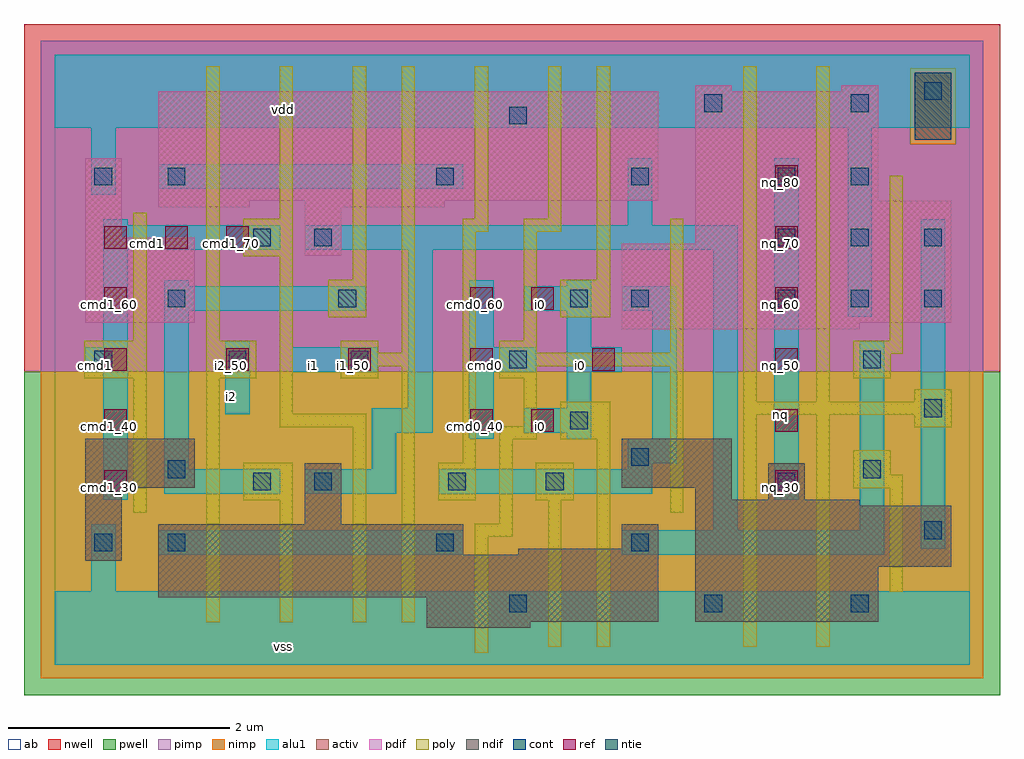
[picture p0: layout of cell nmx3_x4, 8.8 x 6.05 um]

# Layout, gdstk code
import gdstk
lib = gdstk.Library(unit=1e-6, precision=2.5e-09)
def R(c, l, rs):  # rectangles x0, y0, x1, y1
    for r in rs: c.add(gdstk.rectangle(r[:2], r[2:], *l))
def A(c, l, x, y, w, h, nx, ny, dx, dy):  # array of equal rectangles
    R(c, l, [(x+i*dx, y+j*dy, x+i*dx+w, y+j*dy+h) for i in range(nx) for j in range(ny)])
ndif = (3, 0)
pdif = (4, 0)
ntie = (5, 0)
ref = (24, 0)
cont = (25, 0)
pwell = (41, 0)
nwell = (42, 0)
activ = (43, 0)
pimp = (44, 0)
nimp = (45, 0)
poly = (46, 0)
alu1 = (49, 0)
ab = (63, 0)

nmx3_x4 = lib.new_cell('nmx3_x4')
R(nmx3_x4, ndif, [(3.355,0.33,4.29,0.385), (3.355,0.385,5.445,0.605), (5.775,0.385,7.425,0.88), (0.935,0.605,5.445,0.99), (5.775,0.88,8.085,1.43), (0.275,0.935,0.605,1.595), (0.935,0.99,3.685,1.265), (4.18,0.99,5.445,1.045), (5.115,1.045,5.445,1.265), (2.255,1.265,2.585,1.815), (5.775,1.43,7.26,1.485), (5.775,1.485,6.105,1.595), (6.435,1.485,6.765,1.815), (0.275,1.595,1.265,2.035), (5.115,1.595,6.105,2.035)])
R(nmx3_x4, pdif, [(5.115,3.025,7.26,3.08), (0.275,3.08,1.265,3.85), (5.115,3.08,8.085,3.795), (2.255,3.685,2.585,4.125), (5.775,3.795,8.085,4.18), (0.275,3.85,0.605,4.565), (0.935,4.125,1.76,4.18), (2.255,4.125,3.52,4.18), (0.935,4.18,5.445,5.17), (5.775,4.18,7.425,5.17), (5.775,5.17,6.105,5.225), (7.095,5.17,7.425,5.225)])
R(nmx3_x4, ntie, [(7.755,4.73,8.085,5.335)])
A(nmx3_x4, ref, 6.5, 1.55, 0.2, 0.2, 1, 6, 0, 0.55)
A(nmx3_x4, ref, 0.45, 2.65, 0.2, 0.2, 5, 1, 1.1, 0)
A(nmx3_x4, ref, 0.45, 3.75, 0.2, 0.2, 3, 1, 0.55, 0)
R(nmx3_x4, ref, [(0.45,1.55,0.65,1.75), (0.45,2.1,0.65,2.3), (3.75,2.1,3.95,2.3), (4.3,2.1,4.5,2.3), (0.45,3.2,0.65,3.4), (3.75,3.2,3.95,3.4), (4.3,3.2,4.5,3.4)])
A(nmx3_x4, cont, 4.1, 0.47, 0.16, 0.16, 1, 3, 0, 2.2)
A(nmx3_x4, cont, 0.36, 1.02, 0.16, 0.16, 1, 3, 0, 1.65)
A(nmx3_x4, cont, 6.52, 3.22, 0.16, 0.16, 3, 2, 0.66, 0.55)
R(nmx3_x4, cont, [(5.86,0.47,6.02,0.63), (7.18,0.47,7.34,0.63), (1.02,1.02,1.18,1.18), (3.44,1.02,3.6,1.18), (5.2,1.02,5.36,1.18), (7.84,1.13,8,1.29), (1.79,1.57,1.95,1.73), (2.34,1.57,2.5,1.73), (3.55,1.57,3.71,1.73), (4.43,1.57,4.59,1.73), (6.52,1.57,6.68,1.73), (1.02,1.68,1.18,1.84), (7.29,1.68,7.45,1.84), (5.2,1.79,5.36,1.95), (4.65,2.12,4.81,2.28), (7.84,2.23,8,2.39), (1.57,2.67,1.73,2.83), (2.67,2.67,2.83,2.83), (7.29,2.67,7.45,2.83), (1.02,3.22,1.18,3.38), (2.56,3.22,2.72,3.38), (4.65,3.22,4.81,3.38), (5.2,3.22,5.36,3.38), (1.79,3.77,1.95,3.93), (2.34,3.77,2.5,3.93), (1.02,4.32,1.18,4.48), (3.44,4.32,3.6,4.48), (5.2,4.32,5.36,4.48), (6.52,4.32,6.68,4.48), (7.18,4.32,7.34,4.48), (5.86,4.98,6.02,5.14), (7.18,4.98,7.34,5.14), (7.84,5.09,8,5.25)])
R(nmx3_x4, pwell, [(-0.275,-0.275,8.525,2.64)])
R(nmx3_x4, nwell, [(-0.275,2.64,8.525,5.775)])
R(nmx3_x4, activ, [(3.355,0.33,4.29,0.385), (3.355,0.385,5.445,0.605), (5.775,0.385,7.425,0.88), (0.935,0.605,5.445,0.99), (5.775,0.88,8.085,1.43), (0.275,0.935,0.605,1.595), (0.935,0.99,3.685,1.265), (4.18,0.99,5.445,1.045), (5.115,1.045,5.445,1.265), (2.255,1.265,2.585,1.815), (5.775,1.43,7.26,1.485), (5.775,1.485,6.105,1.595), (6.435,1.485,6.765,1.815), (0.275,1.595,1.265,2.035), (5.115,1.595,6.105,2.035), (5.115,3.025,7.26,3.08), (0.275,3.08,1.265,3.85), (5.115,3.08,8.085,3.795), (2.255,3.685,2.585,4.125), (5.775,3.795,8.085,4.18), (0.275,3.85,0.605,4.565), (0.935,4.125,1.76,4.18), (2.255,4.125,3.52,4.18), (0.935,4.18,5.445,5.17), (5.775,4.18,7.425,5.17), (7.755,4.73,8.085,5.335), (5.775,5.17,6.105,5.225), (7.095,5.17,7.425,5.225)])
R(nmx3_x4, pimp, [(-0.125,2.64,8.375,4.69), (-0.125,4.69,7.715,5.375), (8.125,4.69,8.375,5.375), (-0.125,5.375,8.375,5.625)])
R(nmx3_x4, nimp, [(-0.125,-0.125,8.375,2.64), (7.715,4.69,8.125,5.375)])
R(nmx3_x4, poly, [(3.79,0.105,3.91,1.15), (4.45,0.16,4.57,1.48), (4.89,0.16,5.01,2.03), (6.21,0.16,6.33,2.25), (6.87,0.16,6.99,2.25), (1.37,0.38,1.49,2.58), (2.03,0.38,2.15,1.48), (2.69,0.38,2.81,2.14), (3.13,0.38,3.25,2.69), (7.53,0.655,7.65,1.59), (3.79,1.15,4.13,1.27), (4.01,1.27,4.13,2.03), (0.71,1.37,0.83,2.58), (5.55,1.37,5.67,2.69), (1.7,1.48,2.15,1.82), (3.46,1.48,3.8,1.82), (4.34,1.48,4.68,1.82), (7.2,1.59,7.65,1.71), (7.2,1.71,7.54,1.93), (3.68,1.82,3.8,3.9), (4.01,2.03,4.35,2.15), (4.56,2.03,5.01,2.37), (2.03,2.14,2.81,2.26), (7.75,2.14,8.09,2.25), (4.23,2.15,4.35,2.58), (6.21,2.25,8.09,2.37), (2.03,2.26,2.15,3.68), (6.21,2.37,6.33,5.395), (6.87,2.37,6.99,5.395), (7.75,2.37,8.09,2.48), (0.27,2.58,0.83,2.92), (1.37,2.58,1.82,2.92), (2.58,2.58,2.92,2.69), (4.01,2.58,4.35,2.69), (7.2,2.58,7.54,2.8), (2.58,2.69,3.25,2.81), (4.01,2.69,5.67,2.81), (7.2,2.8,7.65,2.92), (2.58,2.81,2.92,2.92), (3.13,2.81,3.25,5.395), (4.01,2.81,4.35,2.92), (5.55,2.81,5.67,4.02), (0.71,2.92,0.83,4.075), (1.37,2.92,1.49,5.395), (4.23,2.92,4.35,3.9), (7.53,2.92,7.65,4.405), (2.47,3.13,2.81,3.47), (4.56,3.13,5.01,3.47), (2.69,3.47,2.81,5.395), (4.89,3.47,5.01,5.395), (1.7,3.68,2.15,4.02), (3.68,3.9,3.91,4.02), (4.23,3.9,4.57,4.02), (2.03,4.02,2.15,5.395), (3.79,4.02,3.91,5.395), (4.45,4.02,4.57,5.395)])
R(nmx3_x4, alu1, [(0,0,8.25,0.66), (0.33,0.66,0.55,1.265), (0.935,0.99,3.685,1.21), (5.115,0.99,7.48,1.21), (7.81,1.045,8.03,4.015), (5.94,1.21,6.16,3.74), (7.26,1.21,7.48,2.915), (0.44,1.485,0.66,2.64), (6.49,1.485,6.71,4.565), (0.99,1.54,2.035,1.76), (2.255,1.54,3.08,1.76), (3.465,1.54,5.39,1.76), (0.99,1.76,1.21,3.19), (2.86,1.76,3.08,2.09), (5.17,1.76,5.39,1.815), (5.17,1.815,5.61,2.035), (3.74,2.035,3.96,2.64), (4.62,2.035,4.84,2.09), (5.39,2.035,5.61,3.19), (2.86,2.09,3.41,2.31), (4.235,2.09,4.84,2.31), (1.54,2.255,1.76,2.915), (3.19,2.31,3.41,3.74), (4.62,2.31,4.84,2.64), (0.275,2.64,0.66,2.86), (2.145,2.64,2.915,2.86), (3.74,2.64,4.345,2.86), (4.62,2.64,5.115,2.86), (0.44,2.86,0.66,3.74), (3.74,2.86,3.96,3.465), (4.62,2.86,4.84,3.19), (7.15,3.135,7.37,4.84), (0.99,3.19,2.805,3.41), (4.235,3.19,4.84,3.41), (5.115,3.19,5.61,3.41), (0.99,3.41,1.21,3.465), (4.62,3.41,4.84,3.465), (0.44,3.74,2.035,3.96), (2.255,3.74,6.16,3.96), (0.44,3.96,0.66,4.015), (5.17,3.96,5.39,4.565), (0.33,4.235,0.55,4.84), (0.935,4.29,3.685,4.51), (0,4.84,8.25,5.5)])
R(nmx3_x4, ab, [(0,0,8.25,5.5)])
nmx3_x4.add(gdstk.Label('vss', (2.0625,0.165), layer=49, texttype=0))
nmx3_x4.add(gdstk.Label('nq', (6.545,2.255), layer=49, texttype=0))
nmx3_x4.add(gdstk.Label('i0', (4.385,2.145), layer=49, texttype=0))
nmx3_x4.add(gdstk.Label('i0', (4.7425,2.695), layer=49, texttype=0))
nmx3_x4.add(gdstk.Label('cmd0', (3.89,2.695), layer=49, texttype=0))
nmx3_x4.add(gdstk.Label('i0', (4.385,3.245), layer=49, texttype=0))
nmx3_x4.add(gdstk.Label('i1', (2.3375,2.695), layer=49, texttype=0))
nmx3_x4.add(gdstk.Label('i2', (1.595,2.42), layer=49, texttype=0))
nmx3_x4.add(gdstk.Label('cmd1', (0.37,2.695), layer=49, texttype=0))
nmx3_x4.add(gdstk.Label('cmd1', (0.8375,3.795), layer=49, texttype=0))
nmx3_x4.add(gdstk.Label('vdd', (2.0625,5.005), layer=49, texttype=0))
nmx3_x4.add(gdstk.Label('cmd1_70', (1.05,3.8), layer=24, texttype=0))
nmx3_x4.add(gdstk.Label('cmd1_70', (1.6,3.8), layer=24, texttype=0))
nmx3_x4.add(gdstk.Label('nq_40', (6.55,2.15), layer=24, texttype=0))
nmx3_x4.add(gdstk.Label('nq_80', (6.55,4.35), layer=24, texttype=0))
nmx3_x4.add(gdstk.Label('nq_70', (6.55,3.8), layer=24, texttype=0))
nmx3_x4.add(gdstk.Label('nq_60', (6.55,3.25), layer=24, texttype=0))
nmx3_x4.add(gdstk.Label('nq_50', (6.55,2.7), layer=24, texttype=0))
nmx3_x4.add(gdstk.Label('nq_30', (6.55,1.6), layer=24, texttype=0))
nmx3_x4.add(gdstk.Label('i0_50', (4.9,2.7), layer=24, texttype=0))
nmx3_x4.add(gdstk.Label('i0_60', (4.35,3.25), layer=24, texttype=0))
nmx3_x4.add(gdstk.Label('i0_40', (4.35,2.15), layer=24, texttype=0))
nmx3_x4.add(gdstk.Label('cmd0_60', (3.8,3.25), layer=24, texttype=0))
nmx3_x4.add(gdstk.Label('cmd0_50', (3.8,2.7), layer=24, texttype=0))
nmx3_x4.add(gdstk.Label('cmd0_40', (3.8,2.15), layer=24, texttype=0))
nmx3_x4.add(gdstk.Label('i1_50', (2.7,2.7), layer=24, texttype=0))
nmx3_x4.add(gdstk.Label('i2_50', (1.6,2.7), layer=24, texttype=0))
nmx3_x4.add(gdstk.Label('cmd1_70', (0.5,3.8), layer=24, texttype=0))
nmx3_x4.add(gdstk.Label('cmd1_60', (0.5,3.25), layer=24, texttype=0))
nmx3_x4.add(gdstk.Label('cmd1_50', (0.5,2.7), layer=24, texttype=0))
nmx3_x4.add(gdstk.Label('cmd1_40', (0.5,2.15), layer=24, texttype=0))
nmx3_x4.add(gdstk.Label('cmd1_30', (0.5,1.6), layer=24, texttype=0))

lib.write_gds('nmx3_x4.gds')
